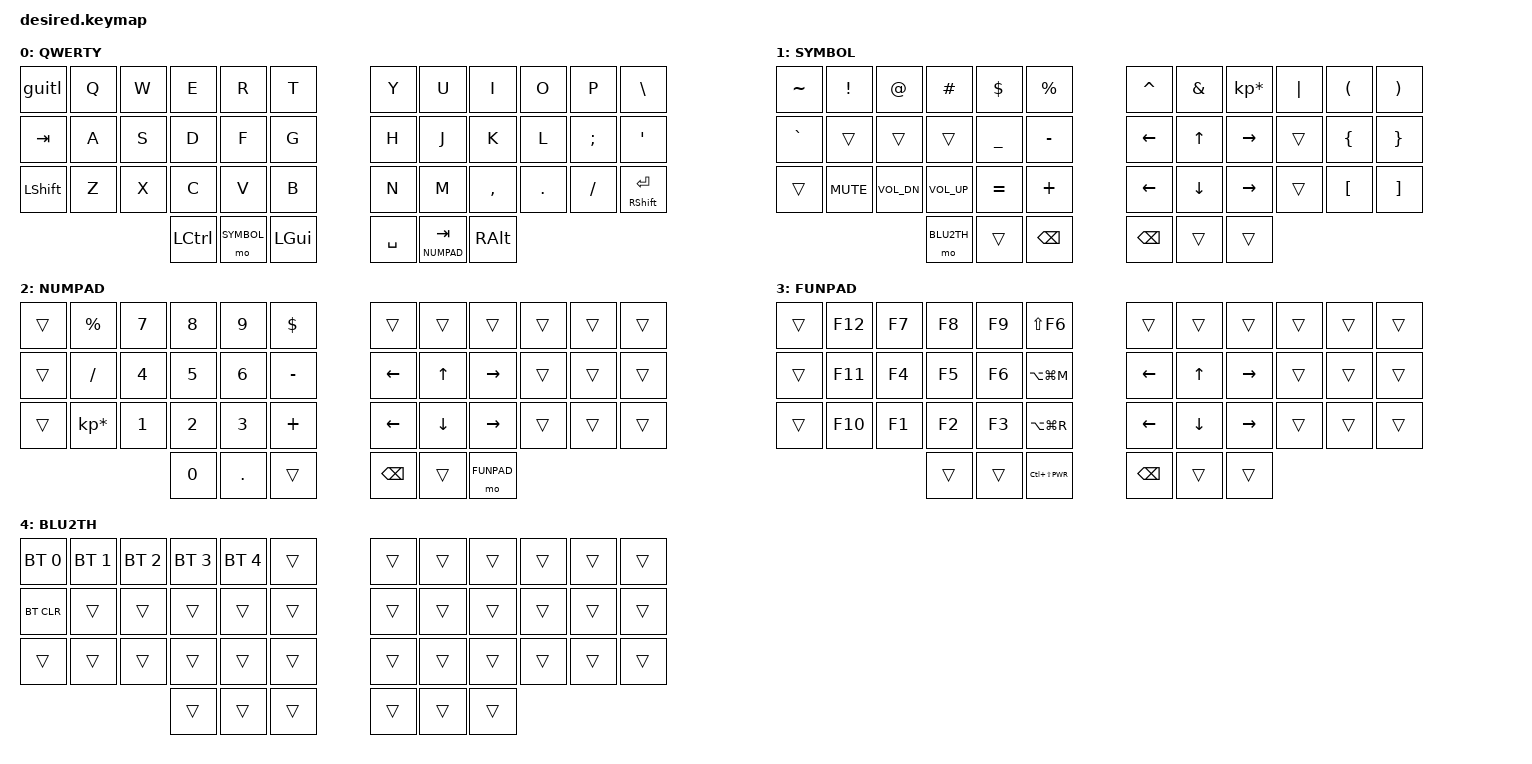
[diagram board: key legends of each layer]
/*
*
* Copyright (c) 2021 Darryl deHaan
* SPDX-License-Identifier: MIT
*
*/

#include <behaviors.dtsi>
#include <dt-bindings/zmk/keys.h>
#include <dt-bindings/zmk/bt.h>
#include <dt-bindings/zmk/matrix_transform.h>

#define SYMBOL  1
#define NUMPAD  2
#define FUNPAD  3
#define BLU2TH  4

// IntelliJ
#define RENAME LS(F6)
#define EXTRACT LA(LG(M))
#define RUN LA(LG(R))

#define SLEEP LC(LS(K_PWR))

/ {
        // This behaviors section has to be here for some reason in order for the &mt and bluetooth keys below to get along.  
        // I have no idea why that is the case.
        behaviors {
          hm: homerow_mods {
            compatible = "zmk,behavior-hold-tap";
            label = "HOMEROW_MODS";
            #binding-cells = <2>;
            tapping-term-ms = <300>;
            quick_tap_ms = <0>;
            flavor = "tap-preferred";
            bindings = <&kp>, <&kp>;
          };
          guitl: gui_tilde {
            compatible = "zmk,behavior-mod-morph";
            label = "GUI_TILDE";
            #binding-cells = <0>;
            bindings = <&kp ESC>, <&kp TILDE>;
            mods = <(MOD_LGUI|MOD_RGUI)>;
        };
        };

        keymap {
                compatible = "zmk,keymap";

                default_layer {
                        label = "QWERTY";
// -----------------------------------------------------------------------------------------
// | ESC  |  Q  |  W  |  E  |  R  |  T  |||||  Y  |  U  |  I  |  O  |  P  |  \   |
// | TAB  |  A  |  S  |  D  |  F  |  G  |||||  H  |  J  |  K  |  L  |  ;  |  '   |
// | SHFT |  Z  |  X  |  C  |  V  |  B  |||||  N  |  M  |  ,  |  .  |  /  | ENT  |
//                    |CTRL |moSYM| GUI ||||| SPC |moNUM| ALT |
                        bindings = <
   &guitl    &kp Q     &kp W     &kp E     &kp R      &kp T           &kp Y     &kp U      &kp I     &kp O     &kp P     &kp BSLH
   &kp TAB   &kp A     &kp S     &kp D     &kp F      &kp G           &kp H     &kp J      &kp K     &kp L     &kp SEMI  &kp SQT
   &kp LSHFT &kp Z     &kp X     &kp C     &kp V      &kp B           &kp N     &kp M      &kp COMMA &kp DOT   &kp FSLH  &mt RSHFT RET
                                 &kp LCTRL &mo SYMBOL &kp LGUI        &kp SPACE &lt NUMPAD TAB &kp RALT
                        >;
                };

                symbol_layer {
                        label = "SYMBOL";
// -----------------------------------------------------------------------------------------
// |  ~   |  !  |  @  |  #  |  $  |  %  |||||  ^  |  &  |  *  | "|" |  (  |  )   |
// |  `   |     |     |     |  _  |  -  ||||| LFT |  UP | RGT |     |  {  |  }   |
// | MUTE |VOL D|VOL U|     |  =  |  +  ||||| LFT | DWN | RGT |     |  [  |  ]   |
//                    |moBLU|     |BKSP |||||     |     |     |
                        bindings = <
   &kp TILDE  &kp EXCL     &kp AT       &kp HASH     &kp DLLR  &kp PRCNT       &kp CARET &kp AMPS  &kp KP_MULTIPLY &kp PIPE  &kp LPAR  &kp RPAR
   &kp GRAVE  &trans       &trans       &trans       &kp UNDER &kp MINUS       &kp LEFT  &kp UP    &kp RIGHT       &trans    &kp LBRC  &kp RBRC
   &trans     &kp K_MUTE   &kp C_VOL_DN &kp C_VOL_UP &kp EQUAL &kp PLUS        &kp LEFT  &kp DOWN  &kp RIGHT       &trans    &kp LBKT  &kp RBKT
                                        &mo BLU2TH   &trans    &kp BSPC        &kp BSPC  &trans    &trans  
                        >;
                };

                numpad_layer {
                        label = "NUMPAD";
// -----------------------------------------------------------------------------------------
// |      |  %  |  7  |  8  |  9  |  $  |||||     |     |     |     |     |      |
// |      |  /  |  4  |  5  |  6  |  -  ||||| LFT |  UP | RGT |     |     |      |
// |      |  *  |  1  |  2  |  3  |  +  ||||| LFT | DWN | RGT |     |     |      |
//                    |  0  |  .  |     |||||     |     |moFUN|
                        bindings = <
   &trans  &kp PRCNT       &kp N7   &kp N8    &kp N9    &kp DLLR    &trans    &trans    &trans      &trans  &trans  &trans
   &trans  &kp FSLH        &kp N4   &kp N5    &kp N6    &kp MINUS   &kp LEFT  &kp UP    &kp RIGHT   &trans  &trans  &trans
   &trans  &kp KP_MULTIPLY &kp N1   &kp N2    &kp N3    &kp PLUS    &kp LEFT  &kp DOWN  &kp RIGHT   &trans  &trans  &trans
                                    &kp N0    &kp DOT   &trans      &kp BSPC  &trans    &mo FUNPAD
                        >;
                };

                funcpad_layer {
                        label = "FUNPAD";
// -----------------------------------------------------------------------------------------
// |      | F12 | F7  | F8  | F9  | REN |||||     |     |     |     |     |      |
// |      | F11 | F4  | F5  | F6  | EXT ||||| LFT |  UP | RGT |     |     |      |
// |      | F10 | F1  | F2  | F3  | RUN ||||| LFT | DWN | RGT |     |     |      |
//                    |     |     | SLP |||||     |     |     |
                        bindings = <
   &trans  &kp F12   &kp F7    &kp F8    &kp F9    &kp RENAME      &trans    &trans    &trans    &trans    &trans    &trans
   &trans  &kp F11   &kp F4    &kp F5    &kp F6    &kp EXTRACT     &kp LEFT  &kp UP    &kp RIGHT &trans    &trans    &trans
   &trans  &kp F10   &kp F1    &kp F2    &kp F3    &kp RUN         &kp LEFT  &kp DOWN  &kp RIGHT &trans    &trans    &trans
                               &trans    &trans    &kp SLEEP       &kp BSPC  &trans    &trans
                        >;
                };

                bluetooth_layer {
                        label = "BLU2TH";
// -----------------------------------------------------------------------------------------
// | BT1  | BT2 | BT3 | BT4 | BT5 |     |||||     |     |     |     |     |      |
// |BTCLR |     |     |     |     |     |||||     |     |     |     |     |      |
// |      |     |     |     |     |     |||||     |     |     |     |     |      |
//                    |     |     |     |||||     |     |     |
                        bindings = <
   &bt BT_SEL 0 &bt BT_SEL 1 &bt BT_SEL 2 &bt BT_SEL 3 &bt BT_SEL 4    &trans   &trans    &trans    &trans    &trans    &trans    &trans
   &bt BT_CLR   &trans    &trans    &trans    &trans    &trans   &trans    &trans    &trans    &trans    &trans    &trans
   &trans       &trans    &trans    &trans    &trans    &trans   &trans    &trans    &trans    &trans    &trans    &trans
                                 &trans    &trans    &trans   &trans    &trans    &trans
                        >;
                };
        };
};
